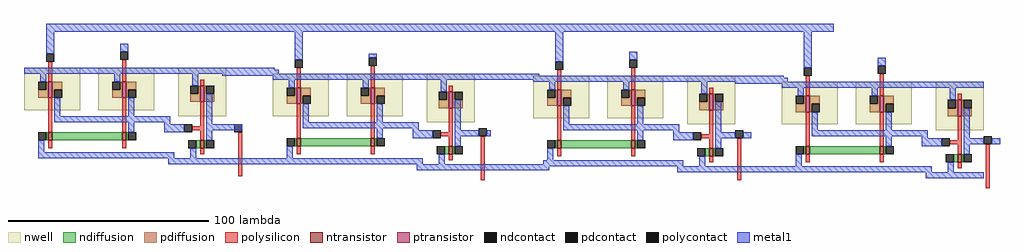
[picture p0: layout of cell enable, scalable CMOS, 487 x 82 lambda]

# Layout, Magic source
magic
tech scmos
<< nwell >>
rect -5 66 23 87
rect 32 66 60 87
rect 72 63 96 87
rect 125 65 153 86
rect 162 65 190 86
rect 202 62 226 86
rect 249 62 277 83
rect 286 62 314 83
rect 326 59 350 83
<< ntransistor >>
rect 7 51 9 55
rect 44 51 46 55
rect 83 47 85 51
rect 137 50 139 54
rect 174 50 176 54
rect 213 46 215 50
rect 261 47 263 51
rect 298 47 300 51
rect 337 43 339 47
<< ptransistor >>
rect 7 72 9 80
rect 44 72 46 80
rect 83 70 85 78
rect 137 71 139 79
rect 174 71 176 79
rect 213 69 215 77
rect 261 68 263 76
rect 298 68 300 76
rect 337 66 339 74
<< ndiffusion >>
rect 6 51 7 55
rect 9 51 44 55
rect 46 51 47 55
rect 81 47 83 51
rect 85 47 86 51
rect 136 50 137 54
rect 139 50 174 54
rect 176 50 177 54
rect 211 46 213 50
rect 215 46 216 50
rect 260 47 261 51
rect 263 47 298 51
rect 300 47 301 51
rect 335 43 337 47
rect 339 43 340 47
<< pdiffusion >>
rect 6 76 7 80
rect 2 72 7 76
rect 9 76 14 80
rect 9 72 10 76
rect 43 76 44 80
rect 39 72 44 76
rect 46 76 51 80
rect 46 72 47 76
rect 82 74 83 78
rect 78 70 83 74
rect 85 74 86 78
rect 85 70 90 74
rect 136 75 137 79
rect 132 71 137 75
rect 139 75 144 79
rect 139 71 140 75
rect 173 75 174 79
rect 169 71 174 75
rect 176 75 181 79
rect 176 71 177 75
rect 212 73 213 77
rect 208 69 213 73
rect 215 73 216 77
rect 215 69 220 73
rect 260 72 261 76
rect 256 68 261 72
rect 263 72 268 76
rect 263 68 264 72
rect 297 72 298 76
rect 293 68 298 72
rect 300 72 305 76
rect 300 68 301 72
rect 336 70 337 74
rect 332 66 337 70
rect 339 70 340 74
rect 339 66 344 70
<< ndcontact >>
rect 2 51 6 55
rect 47 51 51 55
rect 77 47 81 51
rect 86 47 90 51
rect 132 50 136 54
rect 177 50 181 54
rect 207 46 211 50
rect 216 46 220 50
rect 256 47 260 51
rect 301 47 305 51
rect 331 43 335 47
rect 340 43 344 47
<< pdcontact >>
rect 2 76 6 80
rect 10 72 14 76
rect 39 76 43 80
rect 47 72 51 76
rect 78 74 82 78
rect 86 74 90 78
rect 132 75 136 79
rect 140 71 144 75
rect 169 75 173 79
rect 177 71 181 75
rect 208 73 212 77
rect 216 73 220 77
rect 256 72 260 76
rect 264 68 268 72
rect 293 72 297 76
rect 301 68 305 72
rect 332 70 336 74
rect 340 70 344 74
<< polysilicon >>
rect 7 80 9 90
rect 44 80 46 91
rect 83 78 85 81
rect 137 79 139 89
rect 174 79 176 90
rect -22 36 -20 58
rect 7 55 9 72
rect 44 55 46 72
rect 213 77 215 80
rect 83 58 85 70
rect 79 56 85 58
rect 83 51 85 56
rect 7 47 9 51
rect 44 47 46 51
rect 83 44 85 47
rect 99 34 101 56
rect 137 54 139 71
rect 174 54 176 71
rect 261 76 263 86
rect 298 76 300 87
rect 213 57 215 69
rect 337 74 339 77
rect 209 55 215 57
rect 213 50 215 55
rect 137 46 139 50
rect 174 46 176 50
rect 213 43 215 46
rect 227 34 229 55
rect 261 51 263 68
rect 298 51 300 68
rect 337 54 339 66
rect 333 52 339 54
rect 337 47 339 52
rect 261 43 263 47
rect 298 43 300 47
rect 337 40 339 43
rect 351 30 353 52
<< polycontact >>
rect 6 90 10 94
rect 43 91 47 95
rect 136 89 140 93
rect 173 90 177 94
rect 260 86 264 90
rect 297 87 301 91
rect -24 58 -20 62
rect 75 55 79 59
rect 98 56 102 60
rect 205 54 209 58
rect 226 55 230 59
rect 329 51 333 55
rect 350 52 354 56
<< metal1 >>
rect -118 108 275 112
rect -118 100 -114 108
rect -81 100 -77 102
rect 6 94 10 108
rect 43 95 47 97
rect 136 93 140 108
rect -30 89 -4 90
rect 173 94 177 98
rect 260 90 264 108
rect -30 87 -2 89
rect -30 86 128 87
rect 297 91 301 95
rect -5 85 250 86
rect -5 84 252 85
rect 3 80 6 84
rect 40 80 43 84
rect 79 78 82 84
rect 125 83 252 84
rect 133 79 136 83
rect 170 79 173 83
rect 209 77 212 83
rect 226 82 350 83
rect 249 80 350 82
rect 10 63 13 72
rect 47 63 50 72
rect 10 60 68 63
rect 47 55 50 60
rect 65 59 68 60
rect 86 59 89 74
rect 257 76 260 80
rect 294 76 297 80
rect 140 62 143 71
rect 177 62 180 71
rect 65 55 75 59
rect 86 56 98 59
rect 140 59 198 62
rect 102 56 104 59
rect 86 51 89 56
rect 177 54 180 59
rect 195 58 198 59
rect 216 58 219 73
rect 333 74 336 80
rect 264 59 267 68
rect 301 59 304 68
rect 195 54 205 58
rect 216 55 226 58
rect 230 55 234 58
rect 264 56 322 59
rect 2 45 5 51
rect 216 50 219 55
rect 301 51 304 56
rect 319 55 322 56
rect 340 55 343 70
rect 319 51 329 55
rect 340 52 350 55
rect 354 52 358 55
rect -30 42 70 45
rect 78 42 81 47
rect 132 44 135 50
rect 340 47 343 52
rect 130 42 200 44
rect 67 41 200 42
rect 208 41 211 46
rect 256 41 259 47
rect 67 39 133 41
rect 197 38 324 41
rect 332 38 335 43
rect 321 35 350 38
use and2  and2_0
transform 1 0 -93 0 1 73
box -36 -31 73 27
<< end >>

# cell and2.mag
magic
tech scmos
<< nwell >>
rect -36 -4 -8 17
rect 1 -4 29 17
<< ntransistor >>
rect -24 -19 -22 -15
rect 13 -19 15 -15
<< ptransistor >>
rect -24 2 -22 10
rect 13 2 15 10
<< ndiffusion >>
rect -25 -19 -24 -15
rect -22 -19 13 -15
rect 15 -19 16 -15
<< pdiffusion >>
rect -25 6 -24 10
rect -29 2 -24 6
rect -22 6 -17 10
rect -22 2 -21 6
rect 12 6 13 10
rect 8 2 13 6
rect 15 6 20 10
rect 15 2 16 6
<< ndcontact >>
rect -29 -19 -25 -15
rect 16 -19 20 -15
<< pdcontact >>
rect -29 6 -25 10
rect -21 2 -17 6
rect 8 6 12 10
rect 16 2 20 6
<< polysilicon >>
rect -24 10 -22 20
rect 13 10 15 21
rect -24 -15 -22 2
rect 13 -15 15 2
rect -24 -23 -22 -19
rect 13 -23 15 -19
<< polycontact >>
rect -25 20 -21 24
rect 12 21 16 25
<< metal1 >>
rect -25 24 -21 27
rect 12 25 16 27
rect -36 14 41 17
rect -28 10 -25 14
rect 9 10 12 14
rect -21 -7 -18 2
rect 16 -7 19 2
rect -21 -10 37 -7
rect 16 -15 19 -10
rect 34 -11 37 -10
rect 34 -15 41 -11
rect 65 -14 73 -11
rect -29 -25 -26 -19
rect -29 -28 39 -25
rect 36 -31 43 -28
use not  not_0
transform 1 0 53 0 1 2
box -12 -33 12 15
<< end >>

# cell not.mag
magic
tech scmos
<< nwell >>
rect -12 -9 12 15
<< ntransistor >>
rect -1 -25 1 -21
<< ptransistor >>
rect -1 -2 1 6
<< ndiffusion >>
rect -3 -25 -1 -21
rect 1 -25 2 -21
<< pdiffusion >>
rect -2 2 -1 6
rect -6 -2 -1 2
rect 1 2 2 6
rect 1 -2 6 2
<< ndcontact >>
rect -7 -25 -3 -21
rect 2 -25 6 -21
<< pdcontact >>
rect -6 2 -2 6
rect 2 2 6 6
<< polysilicon >>
rect -1 6 1 9
rect -1 -14 1 -2
rect -5 -16 1 -14
rect -1 -21 1 -16
rect -1 -28 1 -25
<< polycontact >>
rect -9 -17 -5 -13
<< metal1 >>
rect -12 12 12 15
rect -5 6 -2 12
rect 2 -13 5 2
rect -12 -17 -9 -13
rect 2 -16 12 -13
rect 2 -21 5 -16
rect -6 -30 -3 -25
rect -12 -33 12 -30
<< end >>
